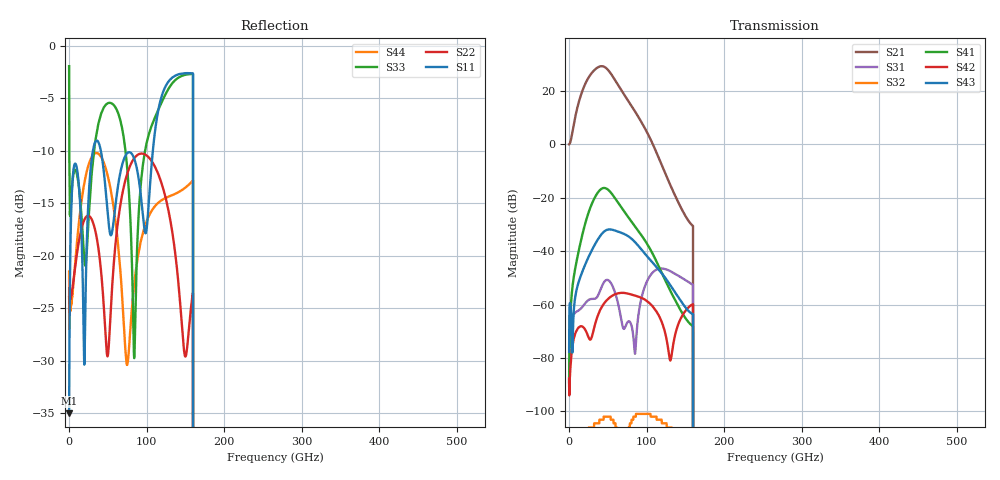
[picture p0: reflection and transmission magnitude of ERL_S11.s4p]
! File created by SignalIntegrity v1.4.2: Signal and Power Integrity Tools
! https://github.com/Nubis-Communications/SignalIntegrity
# MHz S MA R 50.0
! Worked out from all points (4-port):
!   5312 points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, 100 MHz to 531.2 GHz, reference 50 ohm
!   strongest paths, dB at 100 MHz, 132.9 GHz, 265.7 GHz, 398.5 GHz, 531.2 GHz:
!     S43: -77.7, -53.7, -, -, -
!     S42: -87.7, -77.7, -, -, -
!     S41: -89.1, -56.1, -, -, -
!     S32: -, -108.0, -, -, -
!     S31: -90.5, -47.8, -, -, -
!     S21: 0.1, -16.7, -, -, -
!   lowest |S11| = -35.0 dB at 100 MHz (marker M1), VSWR 1.04, Z = 48.6 - j1.09 ohm
!   |S11| at or under -10 dB: start of sweep to 30.83 GHz; 40.97 GHz to 108.1 GHz (67.16 GHz wide, 90.1 % of centre); 159.9 GHz to end of sweep
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100.0094  0.01772 -140.6  0 166.4  3.8e-05 100.9  0 86.5
          1.007 1.2  0.06329 -162.5  0.000745 76.3  2e-06 -36.6
          3e-05 89.7  0 -43.1  0.7979 -43.8  2e-06 150.9
          3.5e-05 -51.9  4.1e-05 -133.9  0.00013 -63.9  0.08392 118.1
26002.45  0.211 -92.3  0 66.1  0.000334 -119.3  5e-06 5.1
          18.66 -117.7  0.1543 -161.7  0.01375 134.5  0.003504 -135.5
          0.001242 -168.6  5e-06 -149.0  0.1666 -33.6  0.00027 27.4
          0.0574 132.8  0.00023 -131.6  0.008278 100.9  0.276 -147.1
40803.84  0.3185 -163.5  0 4.4  8.8e-05 66.3  5e-06 -50.6
          29.06 89.0  0.08789 -178.2  0.03393 -16.2  0.004719 168.0
          0.001941 101.2  7e-06 164.4  0.4668 -108.2  0.000399 -20.7
          0.1438 -25.0  0.000831 -87.8  0.01985 -22.4  0.2971 178.8
47804.5  0.1944 -176.0  0 -19.3  0.000222 -44.7  5e-06 -75.8
         26.93 11.1  0.03775 -152.1  0.0344 -88.2  0.004573 144.5
         0.002879 30.4  8e-06 134.7  0.5248 -130.2  0.000462 -51.0
         0.15 -106.9  0.001173 -101.0  0.02473 -89.3  0.2566 162.4
56005.27  0.1325 -134.5  0 -25.8  0.000347 -108.6  5e-06 -106.1
          19.08 -73.7  0.07497 -74.5  0.02898 -161.3  0.004091 118.7
          0.002242 -57.6  7e-06 92.0  0.5277 -152.5  0.000408 -93.2
          0.1148 165.2  0.001478 -117.2  0.02518 -166.3  0.1842 143.1
76607.21  0.3102 -134.1  0 -86.7  0.000674 74.7  4e-06 -119.4
          6.464 111.0  0.2552 -91.1  0.02517 37.4  0.002384 66.8
          0.000487 -97.5  5e-06 120.7  0.2187 143.1  0.000274 -82.7
          0.04301 -9.7  0.001601 -153.9  0.01899 21.1  0.03323 5.6
531250  0 0.0  0 0.0  0 0.0  0 0.0
        0 0.0  0 0.0  0 0.0  0 0.0
        0 0.0  0 0.0  0 0.0  0 0.0
        0 0.0  0 0.0  0 0.0  0 0.0
